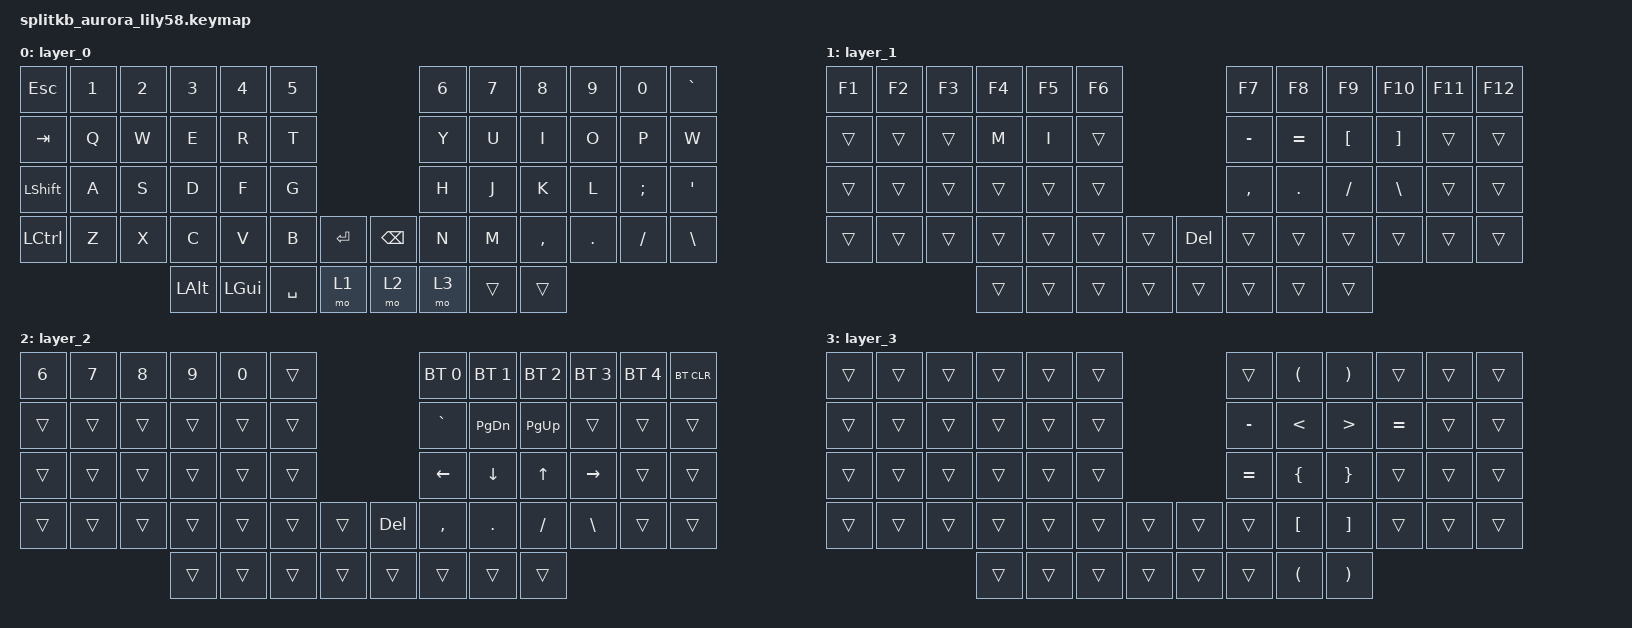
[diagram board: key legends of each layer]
#include <behaviors.dtsi>
#include <dt-bindings/zmk/bt.h>
#include <dt-bindings/zmk/keys.h>

/ {
    combos {
        compatible = "zmk,combos";

        jk_esc {
            bindings = <&kp ESC>;
            key-positions = <31 32>;
        };
    };

    keymap {
        compatible = "zmk,keymap";

        layer_0 {
            bindings = <
&kp ESCAPE        &kp N1  &kp N2  &kp N3    &kp N4        &kp N5                                 &kp N6      &kp N7  &kp N8     &kp N9      &kp N0         &kp GRAVE
&kp TAB           &kp Q   &kp W   &kp E     &kp R         &kp T                                  &kp Y       &kp U   &kp I      &kp O       &kp P          &kp W
&kp LEFT_SHIFT    &kp A   &kp S   &kp D     &kp F         &kp G                                  &kp H       &kp J   &kp K      &kp L       &kp SEMICOLON  &kp SQT
&kp LEFT_CONTROL  &kp Z   &kp X   &kp C     &kp V         &kp B      &kp ENTER    &kp BACKSPACE  &kp N       &kp M   &kp COMMA  &kp PERIOD  &kp SLASH      &kp BACKSLASH
                                  &kp LALT  &kp LEFT_GUI  &kp SPACE  &mo 1        &mo 2          &mo 3       &trans  &trans
            >;
        };

        layer_1 {
            bindings = <
&kp F1        &kp F2        &kp F3      &kp F4  &kp F5  &kp F6                        &kp F7          &kp F8          &kp F9            &kp F10            &kp F11  &kp F12
&trans        &trans        &trans      &kp M   &kp I  &trans                         &kp MINUS       &kp EQUAL       &kp LEFT_BRACKET  &kp RIGHT_BRACKET  &trans   &trans
&trans        &trans        &trans      &trans  &trans  &trans                        &kp COMMA       &kp PERIOD      &kp SLASH         &kp BACKSLASH      &trans   &trans
&trans        &trans        &trans      &trans  &trans  &trans  &trans    &kp DELETE  &trans          &trans          &trans            &trans             &trans   &trans
                                        &trans  &trans  &trans  &trans    &trans      &trans          &trans          &trans
            >;
        };

        layer_2 {
            bindings = <
&kp N6      &kp N7  &kp N8     &kp N9      &kp N0  &trans                       &bt BT_SEL 0    &bt BT_SEL 1    &bt BT_SEL 2      &bt BT_SEL 3     &bt BT_SEL 4  &bt BT_CLR
&trans  &trans  &trans  &trans  &trans  &trans                       &kp GRAVE       &kp PAGE_DOWN   &kp PAGE_UP       &trans           &trans        &trans
&trans  &trans  &trans  &trans  &trans  &trans                       &kp LEFT_ARROW  &kp DOWN_ARROW  &kp UP_ARROW      &kp RIGHT_ARROW  &trans        &trans
&trans  &trans  &trans  &trans  &trans  &trans  &trans    &kp DELETE &kp COMMA       &kp PERIOD      &kp SLASH         &kp BACKSLASH    &trans        &trans
                        &trans  &trans  &trans  &trans    &trans     &trans          &trans          &trans
            >;
        };
        layer_3 {
            bindings = <
&trans  &trans  &trans  &trans  &trans  &trans                    &trans     &kp LPAR          &kp RPAR          &trans     &trans  &trans
&trans  &trans  &trans  &trans  &trans  &trans                    &kp MINUS  &kp LT            &kp GT            &kp EQUAL  &trans  &trans
&trans  &trans  &trans  &trans  &trans  &trans                    &kp EQUAL  &kp LEFT_BRACE    &kp RIGHT_BRACE   &trans     &trans  &trans
&trans  &trans  &trans  &trans  &trans  &trans  &trans    &trans  &trans     &kp LEFT_BRACKET  &kp RIGHT_BRACKET &trans     &trans  &trans
                        &trans  &trans  &trans  &trans    &trans  &trans            &kp LPAR          &kp RPAR
            >;
        };
    };
};
